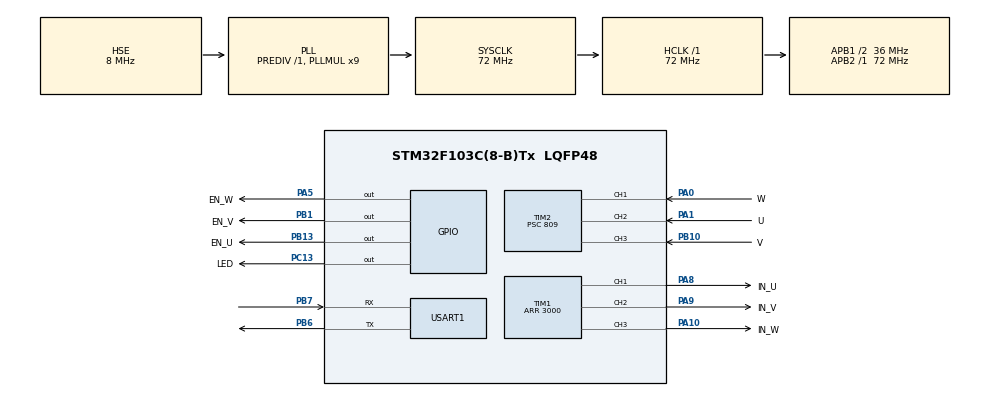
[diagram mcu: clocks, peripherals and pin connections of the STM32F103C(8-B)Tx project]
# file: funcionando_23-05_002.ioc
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Mcu.Family=STM32F1
Mcu.Name=STM32F103C(8-B)Tx
Mcu.Package=LQFP48
NVIC.PriorityGroup=NVIC_PRIORITYGROUP_4
NVIC.TIM2_IRQn=true\:0\:0\:false\:false\:true\:true\:true\:true
NVIC.TIM3_IRQn=true\:0\:0\:false\:false\:true\:true\:true\:true
NVIC.TIM4_IRQn=true\:1\:0\:true\:false\:true\:true\:true\:true
NVIC.USART1_IRQn=true\:0\:0\:false\:false\:true\:true\:true\:true
PA0-WKUP.GPIO_Label=W
PA0-WKUP.GPIO_PuPd=GPIO_PULLUP
PA0-WKUP.Signal=S_TIM2_CH1_ETR
PA1.GPIO_Label=U
PA1.GPIO_PuPd=GPIO_PULLUP
PA1.Signal=S_TIM2_CH2
PA10.GPIO_Label=IN_W
PA10.Signal=S_TIM1_CH3
PA13.Mode=Serial_Wire
PA13.Signal=SYS_JTMS-SWDIO
PA14.Mode=Serial_Wire
PA14.Signal=SYS_JTCK-SWCLK
PA5.GPIO_Label=EN_W
PA5.GPIO_ModeDefaultOutputPP=GPIO_MODE_OUTPUT_PP
PA5.GPIO_PuPd=GPIO_NOPULL
PA5.GPIO_Speed=GPIO_SPEED_FREQ_LOW
PA5.Signal=GPIO_Output
PA8.GPIO_Label=IN_U
PA8.Signal=S_TIM1_CH1
PA9.GPIO_Label=IN_V
PA9.Signal=S_TIM1_CH2
PB1.GPIO_Label=EN_V
PB1.GPIO_ModeDefaultOutputPP=GPIO_MODE_OUTPUT_PP
PB1.GPIO_PuPd=GPIO_NOPULL
PB1.GPIO_Speed=GPIO_SPEED_FREQ_LOW
PB1.Signal=GPIO_Output
PB10.GPIO_Label=V
PB10.GPIO_PuPd=GPIO_PULLUP
PB10.Signal=S_TIM2_CH3
PB13.GPIO_Label=EN_U
PB13.GPIO_ModeDefaultOutputPP=GPIO_MODE_OUTPUT_PP
PB13.GPIO_PuPd=GPIO_NOPULL
PB13.GPIO_Speed=GPIO_SPEED_FREQ_LOW
PB13.Signal=GPIO_Output
PB6.Mode=Asynchronous
PB6.Signal=USART1_TX
PB7.Mode=Asynchronous
PB7.Signal=USART1_RX
PC13-TAMPER-RTC.GPIO_Label=LED
PC13-TAMPER-RTC.Signal=GPIO_Output
PD0-OSC_IN.Mode=HSE-External-Oscillator
PD0-OSC_IN.Signal=RCC_OSC_IN
PD1-OSC_OUT.Mode=HSE-External-Oscillator
PD1-OSC_OUT.Signal=RCC_OSC_OUT
ProjectManager.HeapSize=0x200
ProjectManager.StackSize=0x400
ProjectManager.TargetToolchain=CMake
RCC.ADCPresc=RCC_ADCPCLK2_DIV8
RCC.AHBFreq_Value=72000000
RCC.APB1CLKDivider=RCC_HCLK_DIV2
RCC.APB1Freq_Value=36000000
RCC.APB1TimFreq_Value=72000000
RCC.APB2Freq_Value=72000000
RCC.APB2TimFreq_Value=72000000
RCC.HCLKFreq_Value=72000000
RCC.PLLMUL=RCC_PLL_MUL9
RCC.PLLSourceVirtual=RCC_PLLSOURCE_HSE
RCC.SYSCLKFreq_VALUE=72000000
RCC.SYSCLKSource=RCC_SYSCLKSOURCE_PLLCLK
RCC.USBFreq_Value=72000000
SH.S_TIM1_CH1.0=TIM1_CH1,PWM Generation1 CH1
SH.S_TIM1_CH2.0=TIM1_CH2,PWM Generation2 CH2
SH.S_TIM1_CH3.0=TIM1_CH3,PWM Generation3 CH3
SH.S_TIM2_CH1_ETR.0=TIM2_CH1,Input_Capture1_from_TI1
SH.S_TIM2_CH2.0=TIM2_CH2,Input_Capture2_from_TI2
SH.S_TIM2_CH3.0=TIM2_CH3,Input_Capture3_from_TI3
TIM1.AutoReloadPreload=TIM_AUTORELOAD_PRELOAD_ENABLE
TIM1.Channel-PWM\ Generation1\ CH1=TIM_CHANNEL_1
TIM1.Channel-PWM\ Generation2\ CH2=TIM_CHANNEL_2
TIM1.Channel-PWM\ Generation3\ CH3=TIM_CHANNEL_3
TIM1.CounterMode=TIM_COUNTERMODE_CENTERALIGNED1
TIM1.Period=3000
TIM2.Channel-Input_Capture1_from_TI1=TIM_CHANNEL_1
TIM2.Channel-Input_Capture2_from_TI2=TIM_CHANNEL_2
TIM2.Channel-Input_Capture3_from_TI3=TIM_CHANNEL_3
TIM2.ICFilter_CH1=15
TIM2.ICFilter_CH2=15
TIM2.ICFilter_CH3=15
TIM2.ICPolarity_CH1=TIM_INPUTCHANNELPOLARITY_FALLING
TIM2.ICPolarity_CH2=TIM_INPUTCHANNELPOLARITY_FALLING
TIM2.ICPolarity_CH3=TIM_INPUTCHANNELPOLARITY_FALLING
TIM2.ICPrescaler-Input_Capture1_from_TI1=TIM_ICPSC_DIV1
TIM2.ICPrescaler-Input_Capture2_from_TI2=TIM_ICPSC_DIV1
TIM2.ICPrescaler-Input_Capture3_from_TI3=TIM_ICPSC_DIV1
TIM2.Prescaler=809
TIM3.Channel-Output\ Compare1\ No\ Output=TIM_CHANNEL_1
TIM3.Prescaler=71
TIM4.AutoReloadPreload=TIM_AUTORELOAD_PRELOAD_ENABLE
TIM4.Channel-Output\ Compare1\ No\ Output=TIM_CHANNEL_1
TIM4.Channel-Output\ Compare2\ No\ Output=TIM_CHANNEL_2
TIM4.Channel-Output\ Compare3\ No\ Output=TIM_CHANNEL_3
TIM4.ClockDivision=TIM_CLOCKDIVISION_DIV1
TIM4.OC1Preload=ENABLE
TIM4.Period=19999
TIM4.Prescaler=7199
USART1.VirtualMode=VM_ASYNC
VP_CRC_VS_CRC.Mode=CRC_Activate
VP_TIM1_VS_ClockSourceINT.Mode=Internal
VP_TIM2_VS_ClockSourceINT.Mode=Internal
VP_TIM3_VS_ClockSourceINT.Mode=Internal
VP_TIM3_VS_no_output1.Mode=Output Compare1 No Output
VP_TIM4_VS_ClockSourceINT.Mode=Internal
VP_TIM4_VS_no_output1.Mode=Output Compare1 No Output
VP_TIM4_VS_no_output2.Mode=Output Compare2 No Output
VP_TIM4_VS_no_output3.Mode=Output Compare3 No Output
board=custom

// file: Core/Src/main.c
/* USER CODE BEGIN Header */
/**
  ******************************************************************************
  * @file           : main.c
  * @brief          : Main program body
  ******************************************************************************
  * @attention
  *
  * Copyright (c) 2025 STMicroelectronics.
  * All rights reserved.
  *
  * This software is licensed under terms that can be found in the LICENSE file
  * in the root directory of this software component.
  * If no LICENSE file comes with this software, it is provided AS-IS.
  *
  ******************************************************************************
  */
/* USER CODE END Header */
#include "main.h"
#include "crc.h"
#include "tim.h"
#include "usart.h"
#include "gpio.h"

/* USER CODE BEGIN PV */

extern const uint32_t CPU_clock = 72000000;
/* USER CODE END PV */

void SystemClock_Config(void);

/* USER CODE BEGIN 0 */

volatile uint32_t led_tick = 0;
/* USER CODE END 0 */

int main(void)
{

  /* MCU Configuration--------------------------------------------------------*/

  /* Reset of all peripherals, Initializes the Flash interface and the Systick. */
  HAL_Init();

  /* Configure the system clock */
  SystemClock_Config();

  /* Initialize all configured peripherals */
  MX_GPIO_Init();
  MX_TIM4_Init();
  MX_TIM2_Init();
  MX_TIM1_Init();
  MX_CRC_Init();
  MX_TIM3_Init();
  MX_USART1_UART_Init();
  /* USER CODE BEGIN 2 */
  HAL_GPIO_WritePin(LED_GPIO_Port, LED_Pin, GPIO_PIN_RESET);
  TIM1->PSC = 0;
  TIM2->PSC = 399;
  HAL_TIM_IC_Start_IT(&htim2, TIM_CHANNEL_1);
  HAL_TIM_IC_Start_IT(&htim2, TIM_CHANNEL_2);
  HAL_TIM_IC_Start_IT(&htim2, TIM_CHANNEL_3);

  motorDetection();
  volatile uint32_t last_led_tick = 0;
  /* USER CODE END 2 */
  for (int i = 0; i < 4; i++) {
    HAL_GPIO_TogglePin(LED_GPIO_Port, LED_Pin);
    uint32_t start_tick = led_tick;
    while ((uint32_t)(led_tick - start_tick) < 50) {
      // Espera activa de 50 ms
    }
    HAL_GPIO_TogglePin(LED_GPIO_Port, LED_Pin);
    start_tick = led_tick;
    while ((uint32_t)(led_tick - start_tick) < 50) {
      // Espera activa de 50 ms
    }
  }
  /* Infinite loop */
  /* USER CODE BEGIN WHILE */
  while (1)
  {
	  handleState();
	  checkMotorStatus();
    if ((uint32_t)(led_tick - last_led_tick) >= 200) {
      HAL_GPIO_TogglePin(LED_GPIO_Port, LED_Pin);
      last_led_tick = led_tick;
  }
    /* USER CODE END WHILE */

  }
}

void SystemClock_Config(void)
{
  RCC_OscInitTypeDef RCC_OscInitStruct = {0};
  RCC_ClkInitTypeDef RCC_ClkInitStruct = {0};

  /** Initializes the RCC Oscillators according to the specified parameters
  * in the RCC_OscInitTypeDef structure.
  */
  RCC_OscInitStruct.OscillatorType = RCC_OSCILLATORTYPE_HSE;
  RCC_OscInitStruct.HSEState = RCC_HSE_ON;
  RCC_OscInitStruct.HSEPredivValue = RCC_HSE_PREDIV_DIV1;
  RCC_OscInitStruct.HSIState = RCC_HSI_ON;
  RCC_OscInitStruct.PLL.PLLState = RCC_PLL_ON;
  RCC_OscInitStruct.PLL.PLLSource = RCC_PLLSOURCE_HSE;
  RCC_OscInitStruct.PLL.PLLMUL = RCC_PLL_MUL9;
  if (HAL_RCC_OscConfig(&RCC_OscInitStruct) != HAL_OK)
  {
    Error_Handler();
  }

  /** Initializes the CPU, AHB and APB buses clocks
  */
  RCC_ClkInitStruct.ClockType = RCC_CLOCKTYPE_HCLK|RCC_CLOCKTYPE_SYSCLK
                              |RCC_CLOCKTYPE_PCLK1|RCC_CLOCKTYPE_PCLK2;
  RCC_ClkInitStruct.SYSCLKSource = RCC_SYSCLKSOURCE_PLLCLK;
  RCC_ClkInitStruct.AHBCLKDivider = RCC_SYSCLK_DIV1;
  RCC_ClkInitStruct.APB1CLKDivider = RCC_HCLK_DIV2;
  RCC_ClkInitStruct.APB2CLKDivider = RCC_HCLK_DIV1;

  if (HAL_RCC_ClockConfig(&RCC_ClkInitStruct, FLASH_LATENCY_2) != HAL_OK)
  {
    Error_Handler();
  }
}

void Error_Handler(void)
{
  __disable_irq();
  while (1)
  {
  }
}
